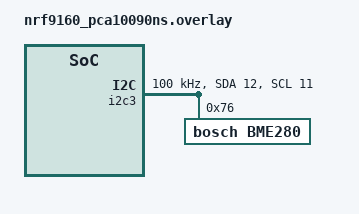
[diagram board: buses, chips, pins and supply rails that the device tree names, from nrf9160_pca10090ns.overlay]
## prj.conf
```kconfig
CONFIG_STDOUT_CONSOLE=y
CONFIG_I2C=y
CONFIG_SENSOR=y
CONFIG_BME280=y


CONFIG_DEBUG=y
CONFIG_LOG=y
CONFIG_LOG_DEFAULT_LEVEL=3
CONFIG_LOG_MAX_LEVEL=3

#CONFIG_TRUSTED_EXECUTION_NONSECURE=n
#CONFIG_SERIAL=y
#CONFIG_UART_INTERRUPT_DRIVEN=y
CONFIG_I2C_NRFX=y
CONFIG_I2C_3=y
CONFIG_I2C_3_NRF_TWIM=y


#CONFIG_NEWLIB_LIBC=y

CONFIG_I2C_2=n
CONFIG_I2C_2_NRF_TWIM=n

#CONFIG_LOG=y
#CONFIG_I2C_LOG_LEVEL_DBG=y
#CONFIG_LOG_BACKEND_UART=y
#CONFIG_I2C_INIT_PRIORITY=60
```

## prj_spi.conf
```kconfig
CONFIG_STDOUT_CONSOLE=y
CONFIG_SPI=y
CONFIG_SENSOR=y
CONFIG_BME280=y

CONFIG_SPI=y
CONFIG_SPI_NRFX=y
CONFIG_SPI_3=y
CONFIG_SPI_3_NRF_SPIM=y
```

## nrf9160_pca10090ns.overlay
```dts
&i2c3 {
	status = "ok";
	sda-pin = < 12 >;
	scl-pin = < 11 >;
    clock-frequency = <I2C_BITRATE_STANDARD>;  
	
	    /* The I2C address could be one of two, here 0x76 is assumed */
	bme280@76 {
		compatible = "bosch,bme280";
		reg = <0x76>;
		label = "BME280";
	};
};

&i2c2 {
	status = "disabled";

};

&spi3 {
        status = "disabled";
        sck-pin = <11>;
        mosi-pin = <12>;
        miso-pin = <13>;
        spi-max-frequency = <8000000>;
		
			bme280@0 {
		compatible = "bosch,bme280";
		reg = <0>;
		spi-max-frequency = <8000000>;
		label = "BME280";
	};
};
```

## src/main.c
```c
/*
 * Copyright (c) 2012-2014 Wind River Systems, Inc.
 *
 * SPDX-License-Identifier: Apache-2.0
 */

#include <zephyr.h>
#include <device.h>
#include <sensor.h>


void main(void)
{
	struct device *dev = device_get_binding("BME280");

	if (dev == NULL) {
		printk("Could not get BME280 device\n");
		return;
	}

	printk("dev %p name %s\n", dev, dev->config->name);

	while (1) {
		struct sensor_value temp, press, humidity;

		sensor_sample_fetch(dev);
		sensor_channel_get(dev, SENSOR_CHAN_AMBIENT_TEMP, &temp);
		sensor_channel_get(dev, SENSOR_CHAN_PRESS, &press);
		sensor_channel_get(dev, SENSOR_CHAN_HUMIDITY, &humidity);

		printk("temp: %d.%06d; press: %d.%06d; humidity: %d.%06d\n",
		      temp.val1, temp.val2, press.val1, press.val2,
		      humidity.val1, humidity.val2);

		k_sleep(1000);
	}
}
```
